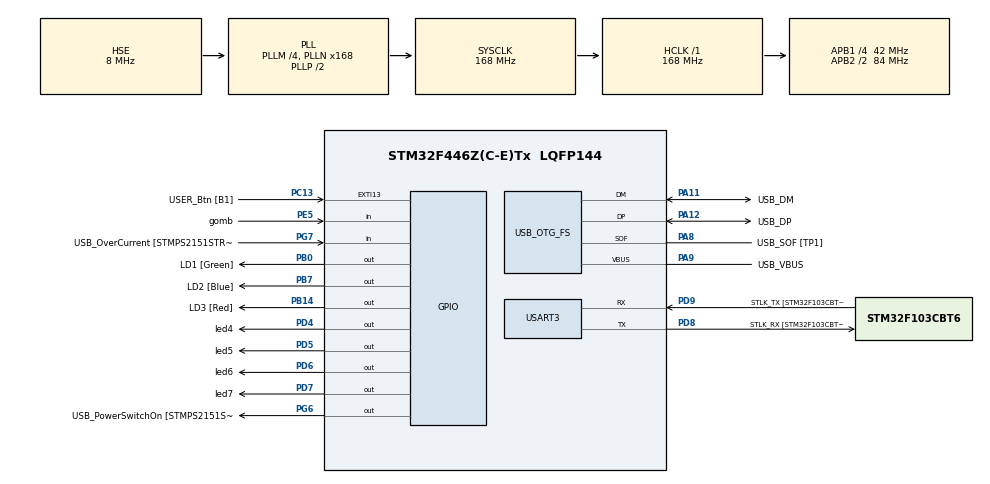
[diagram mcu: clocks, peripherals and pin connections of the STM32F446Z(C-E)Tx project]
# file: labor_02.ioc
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Mcu.Family=STM32F4
Mcu.Name=STM32F446Z(C-E)Tx
Mcu.Package=LQFP144
NVIC.PriorityGroup=NVIC_PRIORITYGROUP_4
PA10.GPIO_Label=USB_ID
PA10.Signal=USB_OTG_FS_ID
PA11.GPIO_Label=USB_DM
PA11.Mode=Device_Only
PA11.Signal=USB_OTG_FS_DM
PA12.GPIO_Label=USB_DP
PA12.Mode=Device_Only
PA12.Signal=USB_OTG_FS_DP
PA13.GPIO_Label=TMS
PA13.Mode=Serial_Wire
PA13.Signal=SYS_JTMS-SWDIO
PA14.GPIO_Label=TCK
PA14.Mode=Serial_Wire
PA14.Signal=SYS_JTCK-SWCLK
PA8.GPIO_Label=USB_SOF [TP1]
PA8.Mode=Activate_SOF_FS
PA8.Signal=USB_OTG_FS_SOF
PA9.GPIO_Label=USB_VBUS
PA9.Mode=Activate_VBUS
PA9.Signal=USB_OTG_FS_VBUS
PB0.GPIO_Label=LD1 [Green]
PB0.Signal=GPIO_Output
PB14.GPIO_Label=LD3 [Red]
PB14.Signal=GPIO_Output
PB7.GPIO_Label=LD2 [Blue]
PB7.Signal=GPIO_Output
PC13.GPIO_Label=USER_Btn [B1]
PC13.Signal=GPXTI13
PC14-OSC32_IN.Mode=LSE-External-Oscillator
PC14-OSC32_IN.Signal=RCC_OSC32_IN
PC15-OSC32_OUT.Mode=LSE-External-Oscillator
PC15-OSC32_OUT.Signal=RCC_OSC32_OUT
PD4.GPIO_Label=led4
PD4.GPIO_PuPd=GPIO_NOPULL
PD4.Signal=GPIO_Output
PD5.GPIO_Label=led5
PD5.GPIO_PuPd=GPIO_NOPULL
PD5.Signal=GPIO_Output
PD6.GPIO_Label=led6
PD6.GPIO_PuPd=GPIO_NOPULL
PD6.Signal=GPIO_Output
PD7.GPIO_Label=led7
PD7.GPIO_PuPd=GPIO_NOPULL
PD7.Signal=GPIO_Output
PD8.GPIO_Label=STLK_RX [STM32F103CBT6_PA3]
PD8.Mode=Asynchronous
PD8.Signal=USART3_TX
PD9.GPIO_Label=STLK_TX [STM32F103CBT6_PA2]
PD9.Mode=Asynchronous
PD9.Signal=USART3_RX
PE5.GPIO_Label=gomb
PE5.GPIO_PuPd=GPIO_PULLDOWN
PE5.Signal=GPIO_Input
PG6.GPIO_Label=USB_PowerSwitchOn [STMPS2151STR_EN]
PG6.Signal=GPIO_Output
PG7.GPIO_Label=USB_OverCurrent [STMPS2151STR_FAULT]
PG7.Signal=GPIO_Input
PH0-OSC_IN.GPIO_Label=MCO [STM32F103CBT6_PA8]
PH0-OSC_IN.Mode=HSE-External-Clock-Source
PH0-OSC_IN.Signal=RCC_OSC_IN
PH1-OSC_OUT.Mode=HSE-External-Clock-Source
PH1-OSC_OUT.Signal=RCC_OSC_OUT
ProjectManager.HeapSize=0x200
ProjectManager.StackSize=0x400
ProjectManager.TargetToolchain=STM32CubeIDE
RCC.48MHZClocksFreq_Value=24000000
RCC.AHBFreq_Value=168000000
RCC.APB1CLKDivider=RCC_HCLK_DIV4
RCC.APB1Freq_Value=42000000
RCC.APB1TimFreq_Value=84000000
RCC.APB2CLKDivider=RCC_HCLK_DIV2
RCC.APB2Freq_Value=84000000
RCC.APB2TimFreq_Value=168000000
RCC.CortexFreq_Value=168000000
RCC.HCLKFreq_Value=168000000
RCC.HSE_VALUE=8000000
RCC.HSI_VALUE=16000000
RCC.PLLM=4
RCC.PLLMUL=RCC_PLL_MUL9
RCC.PLLN=168
RCC.PLLQ=7
RCC.PRESCALERUSB=RCC_USBCLKSOURCE_PLL_DIV1_5
RCC.SYSCLKFreq_VALUE=168000000
RCC.SYSCLKSource=RCC_SYSCLKSOURCE_PLLCLK
RCC.SYSCLKSourceVirtual=RCC_SYSCLKSOURCE_PLLCLK
RCC.USBFreq_Value=48000000
RCC.VCOOutputFreq_Value=336000000
USART3.VirtualMode=VM_ASYNC
USB_OTG_FS.VirtualMode=Device_Only
board=NUCLEO-F446ZE

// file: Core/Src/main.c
/* USER CODE BEGIN Header */
/**
  ******************************************************************************
  * @file           : main.c
  * @brief          : Main program body
  ******************************************************************************
  * @attention
  *
  * Copyright (c) 2026 STMicroelectronics.
  * All rights reserved.
  *
  * This software is licensed under terms that can be found in the LICENSE file
  * in the root directory of this software component.
  * If no LICENSE file comes with this software, it is provided AS-IS.
  *
  ******************************************************************************
  */
/* USER CODE END Header */
#include "main.h"

UART_HandleTypeDef huart3;

PCD_HandleTypeDef hpcd_USB_OTG_FS;

void SystemClock_Config(void);
static void MX_GPIO_Init(void);
static void MX_USART3_UART_Init(void);
static void MX_USB_OTG_FS_PCD_Init(void);

int main(void)
{

  /* USER CODE BEGIN 1 */
	uint8_t state = 0x00;

	GPIO_PinState currentState = GPIO_PIN_RESET;
	GPIO_PinState previousState = GPIO_PIN_RESET;
	GPIO_PinState lastReading = GPIO_PIN_RESET;

	uint32_t lastDebounceTime = 0;
	uint32_t debounceDelay = 30;

  /* USER CODE END 1 */

  /* MCU Configuration--------------------------------------------------------*/

  /* Reset of all peripherals, Initializes the Flash interface and the Systick. */
  HAL_Init();

  /* Configure the system clock */
  SystemClock_Config();

  /* Initialize all configured peripherals */
  MX_GPIO_Init();
  MX_USART3_UART_Init();
  MX_USB_OTG_FS_PCD_Init();

  /* Infinite loop */
  /* USER CODE BEGIN WHILE */
  while (1)
  {
      GPIO_PinState reading = HAL_GPIO_ReadPin(gomb_GPIO_Port, gomb_Pin);

      // Ha változott a nyers gombállapot, újraindítjuk a debounce időt
      if (reading != lastReading)
      {
          lastDebounceTime = HAL_GetTick();
      }

      // Csak akkor fogadjuk el az állapotot,
      // ha legalább 30 ms-ig stabil maradt
      if ((HAL_GetTick() - lastDebounceTime) > debounceDelay)
      {
          currentState = reading;

          // csak valódi állapotváltozáskor lépünk
          if (currentState != previousState)
          {
              // csak lenyomáskor számolunk
              if (currentState == GPIO_PIN_SET)
              {
                  state++;

                  if (state > 15)
                  {
                      state = 0;
                  }
              }

              previousState = currentState;
          }
      }

      lastReading = reading;

      // bináris érték kijelzése
      HAL_GPIO_WritePin(GPIOD, led4_Pin,
                        state & 0x01 ? GPIO_PIN_SET : GPIO_PIN_RESET);

      HAL_GPIO_WritePin(GPIOD, led5_Pin,
                        state & 0x02 ? GPIO_PIN_SET : GPIO_PIN_RESET);

      HAL_GPIO_WritePin(GPIOD, led6_Pin,
                        state & 0x04 ? GPIO_PIN_SET : GPIO_PIN_RESET);

      HAL_GPIO_WritePin(GPIOD, led7_Pin,
                        state & 0x08 ? GPIO_PIN_SET : GPIO_PIN_RESET);

      /* USER CODE END WHILE */

  }
}

void SystemClock_Config(void)
{
  RCC_OscInitTypeDef RCC_OscInitStruct = {0};
  RCC_ClkInitTypeDef RCC_ClkInitStruct = {0};

  /** Configure the main internal regulator output voltage
  */
  __HAL_RCC_PWR_CLK_ENABLE();
  __HAL_PWR_VOLTAGESCALING_CONFIG(PWR_REGULATOR_VOLTAGE_SCALE1);

  /** Initializes the RCC Oscillators according to the specified parameters
  * in the RCC_OscInitTypeDef structure.
  */
  RCC_OscInitStruct.OscillatorType = RCC_OSCILLATORTYPE_HSE;
  RCC_OscInitStruct.HSEState = RCC_HSE_BYPASS;
  RCC_OscInitStruct.PLL.PLLState = RCC_PLL_ON;
  RCC_OscInitStruct.PLL.PLLSource = RCC_PLLSOURCE_HSE;
  RCC_OscInitStruct.PLL.PLLM = 4;
  RCC_OscInitStruct.PLL.PLLN = 168;
  RCC_OscInitStruct.PLL.PLLP = RCC_PLLP_DIV2;
  RCC_OscInitStruct.PLL.PLLQ = 7;
  RCC_OscInitStruct.PLL.PLLR = 2;
  if (HAL_RCC_OscConfig(&RCC_OscInitStruct) != HAL_OK)
  {
    Error_Handler();
  }

  /** Initializes the CPU, AHB and APB buses clocks
  */
  RCC_ClkInitStruct.ClockType = RCC_CLOCKTYPE_HCLK|RCC_CLOCKTYPE_SYSCLK
                              |RCC_CLOCKTYPE_PCLK1|RCC_CLOCKTYPE_PCLK2;
  RCC_ClkInitStruct.SYSCLKSource = RCC_SYSCLKSOURCE_PLLCLK;
  RCC_ClkInitStruct.AHBCLKDivider = RCC_SYSCLK_DIV1;
  RCC_ClkInitStruct.APB1CLKDivider = RCC_HCLK_DIV4;
  RCC_ClkInitStruct.APB2CLKDivider = RCC_HCLK_DIV2;

  if (HAL_RCC_ClockConfig(&RCC_ClkInitStruct, FLASH_LATENCY_5) != HAL_OK)
  {
    Error_Handler();
  }
}

static void MX_USART3_UART_Init(void)
{

  huart3.Instance = USART3;
  huart3.Init.BaudRate = 115200;
  huart3.Init.WordLength = UART_WORDLENGTH_8B;
  huart3.Init.StopBits = UART_STOPBITS_1;
  huart3.Init.Parity = UART_PARITY_NONE;
  huart3.Init.Mode = UART_MODE_TX_RX;
  huart3.Init.HwFlowCtl = UART_HWCONTROL_NONE;
  huart3.Init.OverSampling = UART_OVERSAMPLING_16;
  if (HAL_UART_Init(&huart3) != HAL_OK)
  {
    Error_Handler();
  }

}

static void MX_USB_OTG_FS_PCD_Init(void)
{

  hpcd_USB_OTG_FS.Instance = USB_OTG_FS;
  hpcd_USB_OTG_FS.Init.dev_endpoints = 6;
  hpcd_USB_OTG_FS.Init.speed = PCD_SPEED_FULL;
  hpcd_USB_OTG_FS.Init.dma_enable = DISABLE;
  hpcd_USB_OTG_FS.Init.phy_itface = PCD_PHY_EMBEDDED;
  hpcd_USB_OTG_FS.Init.Sof_enable = ENABLE;
  hpcd_USB_OTG_FS.Init.low_power_enable = DISABLE;
  hpcd_USB_OTG_FS.Init.lpm_enable = DISABLE;
  hpcd_USB_OTG_FS.Init.vbus_sensing_enable = ENABLE;
  hpcd_USB_OTG_FS.Init.use_dedicated_ep1 = DISABLE;
  if (HAL_PCD_Init(&hpcd_USB_OTG_FS) != HAL_OK)
  {
    Error_Handler();
  }

}

static void MX_GPIO_Init(void)
{
  GPIO_InitTypeDef GPIO_InitStruct = {0};

  /* GPIO Ports Clock Enable */
  __HAL_RCC_GPIOE_CLK_ENABLE();
  __HAL_RCC_GPIOC_CLK_ENABLE();
  __HAL_RCC_GPIOH_CLK_ENABLE();
  __HAL_RCC_GPIOB_CLK_ENABLE();
  __HAL_RCC_GPIOD_CLK_ENABLE();
  __HAL_RCC_GPIOG_CLK_ENABLE();
  __HAL_RCC_GPIOA_CLK_ENABLE();

  /*Configure GPIO pin Output Level */
  HAL_GPIO_WritePin(GPIOB, LD1_Pin|LD3_Pin|LD2_Pin, GPIO_PIN_RESET);

  /*Configure GPIO pin Output Level */
  HAL_GPIO_WritePin(USB_PowerSwitchOn_GPIO_Port, USB_PowerSwitchOn_Pin, GPIO_PIN_RESET);

  /*Configure GPIO pin Output Level */
  HAL_GPIO_WritePin(GPIOD, led4_Pin|led5_Pin|led6_Pin|led7_Pin, GPIO_PIN_RESET);

  /*Configure GPIO pin : gomb_Pin */
  GPIO_InitStruct.Pin = gomb_Pin;
  GPIO_InitStruct.Mode = GPIO_MODE_INPUT;
  GPIO_InitStruct.Pull = GPIO_PULLDOWN;
  HAL_GPIO_Init(gomb_GPIO_Port, &GPIO_InitStruct);

  /*Configure GPIO pin : USER_Btn_Pin */
  GPIO_InitStruct.Pin = USER_Btn_Pin;
  GPIO_InitStruct.Mode = GPIO_MODE_IT_RISING;
  GPIO_InitStruct.Pull = GPIO_NOPULL;
  HAL_GPIO_Init(USER_Btn_GPIO_Port, &GPIO_InitStruct);

  /*Configure GPIO pins : LD1_Pin LD3_Pin LD2_Pin */
  GPIO_InitStruct.Pin = LD1_Pin|LD3_Pin|LD2_Pin;
  GPIO_InitStruct.Mode = GPIO_MODE_OUTPUT_PP;
  GPIO_InitStruct.Pull = GPIO_NOPULL;
  GPIO_InitStruct.Speed = GPIO_SPEED_FREQ_LOW;
  HAL_GPIO_Init(GPIOB, &GPIO_InitStruct);

  /*Configure GPIO pin : USB_PowerSwitchOn_Pin */
  GPIO_InitStruct.Pin = USB_PowerSwitchOn_Pin;
  GPIO_InitStruct.Mode = GPIO_MODE_OUTPUT_PP;
  GPIO_InitStruct.Pull = GPIO_NOPULL;
  GPIO_InitStruct.Speed = GPIO_SPEED_FREQ_LOW;
  HAL_GPIO_Init(USB_PowerSwitchOn_GPIO_Port, &GPIO_InitStruct);

  /*Configure GPIO pin : USB_OverCurrent_Pin */
  GPIO_InitStruct.Pin = USB_OverCurrent_Pin;
  GPIO_InitStruct.Mode = GPIO_MODE_INPUT;
  GPIO_InitStruct.Pull = GPIO_NOPULL;
  HAL_GPIO_Init(USB_OverCurrent_GPIO_Port, &GPIO_InitStruct);

  /*Configure GPIO pins : led4_Pin led5_Pin led6_Pin led7_Pin */
  GPIO_InitStruct.Pin = led4_Pin|led5_Pin|led6_Pin|led7_Pin;
  GPIO_InitStruct.Mode = GPIO_MODE_OUTPUT_PP;
  GPIO_InitStruct.Pull = GPIO_NOPULL;
  GPIO_InitStruct.Speed = GPIO_SPEED_FREQ_LOW;
  HAL_GPIO_Init(GPIOD, &GPIO_InitStruct);

}

void Error_Handler(void)
{
  __disable_irq();
  while (1)
  {
  }
}
